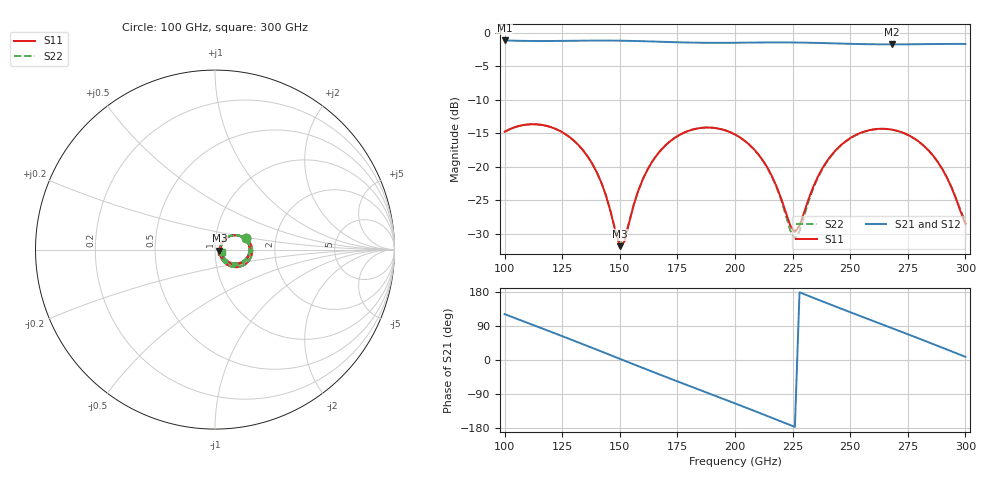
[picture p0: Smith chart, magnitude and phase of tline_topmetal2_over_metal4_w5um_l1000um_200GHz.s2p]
#  GHZ S DB R 50
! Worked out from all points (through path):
!   101 points, 100 GHz to 300 GHz, reference 50 ohm
!   highest |S21| = -1.15 dB at 100 GHz (marker M1); lowest = -1.7 dB at 268 GHz (marker M2)
!   group delay of S21, straight-line fit = 6.57 ps
!   lowest |S11| = -31.8 dB at 150 GHz (marker M3), VSWR 1.05, Z = 52.5 - j0.638 ohm
!   |S11| at or under -10 dB: start of sweep to end of sweep
!   |S22| runs from -31.5 to -13.6 dB; largest |S21 - S12| = 9.7e-14
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100  -14.77 21.2  -1.15 121.0  -1.15 121.0  -14.77 21.2
116  -13.74 -11.1  -1.23 83.9  -1.23 83.9  -13.74 -11.1
124  -14.65 -27.1  -1.22 65.3  -1.22 65.3  -14.64 -27.1
134  -17.52 -45.7  -1.18 41.6  -1.18 41.6  -17.51 -45.6
142  -22.38 -55.0  -1.17 22.4  -1.17 22.4  -22.35 -54.6
150  -31.84 -13.7  -1.19 3.1  -1.19 3.1  -31.52 -13.5
152  -31.15 18.6  -1.20 -1.7  -1.20 -1.7  -30.86 17.5
160  -21.86 47.5  -1.26 -20.9  -1.26 -20.9  -21.82 46.5
168  -17.45 37.4  -1.35 -40.0  -1.35 -40.0  -17.43 36.5
184  -14.26 7.3  -1.48 -77.3  -1.48 -77.3  -14.25 6.5
200  -15.18 -23.7  -1.49 -114.6  -1.49 -114.6  -15.18 -24.8
214  -20.09 -45.1  -1.45 -147.7  -1.45 -147.7  -20.15 -47.3
226  -29.73 -0.9  -1.45 -176.6  -1.45 -176.6  -30.75 -1.9
234  -22.96 44.4  -1.50 164.2  -1.50 164.2  -23.19 46.7
240  -19.11 41.6  -1.55 149.8  -1.55 149.8  -19.21 43.1
248  -16.20 29.6  -1.63 130.9  -1.63 130.9  -16.25 30.6
258  -14.55 11.3  -1.71 107.6  -1.71 107.6  -14.58 12.0
268  -14.44 -7.7  -1.73 84.3  -1.73 84.3  -14.46 -7.1
276  -15.41 -22.6  -1.72 65.6  -1.72 65.6  -15.42 -22.0
286  -18.35 -38.7  -1.68 42.0  -1.68 42.0  -18.34 -37.9
292  -21.62 -43.5  -1.67 27.7  -1.67 27.7  -21.59 -42.4
300  -28.49 -18.1  -1.67 8.4  -1.67 8.4  -28.20 -17.0
